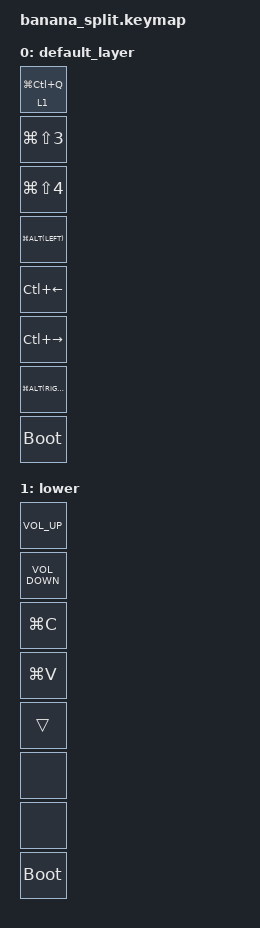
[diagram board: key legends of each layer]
/*
 * Copyright (c) 2022 Dan Bostian
 * SPDX-License-Identifier: MIT
 */

#include <behaviors.dtsi>
#include <dt-bindings/zmk/keys.h>
#include <dt-bindings/zmk/bt.h>
#include <dt-bindings/zmk/ext_power.h>
#include <dt-bindings/zmk/outputs.h>

/ {
    // https://github.com/dbostian/bananasplit
    macros {
        bananasplit: bananasplit {
            label = "bananasplit";
            compatible = "zmk,behavior-macro";
            #binding-cells = <0>;
            tap-ms = <0>;
            bindings
                = <&kp G &kp I &kp T &kp H &kp U &kp B &kp DOT &kp C &kp O &kp M &kp SLASH>
                , <&kp D &kp B &kp O &kp S &kp T &kp I &kp A &kp N &kp SLASH>
                , <&kp B &kp A &kp N &kp A &kp N &kp A &kp S &kp P &kp L &kp I &kp T>
                ;
        };
    };

    keymap {
        compatible =  "zmk,keymap" ;

        default_layer {
            bindings = <
                &lt 1 LG(LC(Q))    // Lock Screen (Cmd + Ctrl + Q)
                &kp LG(LS(N3))     // Screenshot, entire screen (Cmd + Shift + 3)
                &kp LG(LS(N4))     // Screenshot, selection (Cmd + Shift + 4)
                &kp LG(ALT(LEFT))  // Tab Left, Chrome (Cmd + Alt + Left)
                &kp LC(LEFT)       // Desktop Left (Ctrl + Left)
                &kp LC(RIGHT)      // Desktop Right (Ctrl + Right)
                &kp LG(ALT(RIGHT)) // Tab Right, Chrome (Cmd + Alt + Right)
                &bootloader         // Enter bootloader mode
            >; 
        };

        lower {
            bindings = <
                &kp VOL_UP    // Volume Up
                &kp VOL_DOWN  // Volume Down
                &kp LG(C)     // Copy
                &kp LG(V)     // Paste
                &trans        // Placeholder for additional functions
                &none         // Unused key
                &none         // Unused key
                &bootloader    // Enter bootloader mode
            >; 
        };
    };
};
